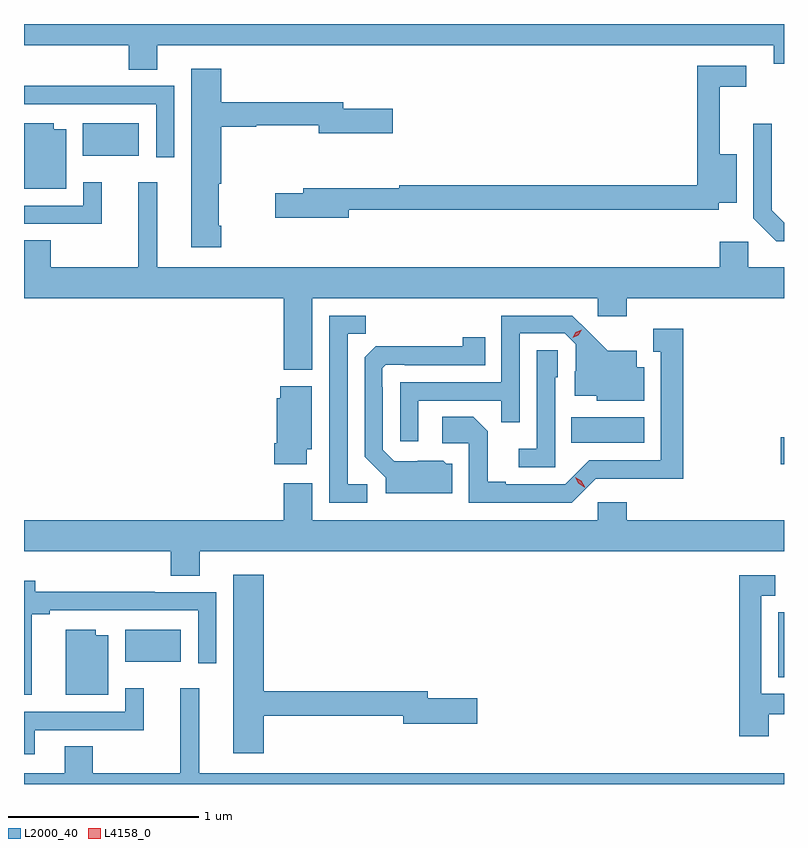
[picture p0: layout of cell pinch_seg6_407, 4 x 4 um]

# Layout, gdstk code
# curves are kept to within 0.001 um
import gdstk
lib = gdstk.Library(unit=1e-6, precision=1e-09)
def R(c, l, rs):  # rectangles x0, y0, x1, y1
    for r in rs: c.add(gdstk.rectangle(r[:2], r[2:], *l))
def P(c, l, *ps):  # polygons
    for p in ps: c.add(gdstk.Polygon(p, *l))
L2000_40 = (2000, 40)
L4158_0 = (4158, 0)

pinch_seg6_407 = lib.new_cell('pinch_seg6_407')
R(pinch_seg6_407, L2000_40, [(649.724,917.368,649.754,917.712), (646.286,917.45,646.579,917.62), (649.736,918.49,649.754,918.632), (648.634,918.602,649.018,918.736), (646.064,920.114,646.357,920.284)])
P(pinch_seg6_407, L2000_40, [(646.456,920.696),(649.7,920.696),(649.7,920.598),(649.754,920.598),(649.754,920.807),(645.754,920.807),(645.754,920.696),(646.304,920.696),(646.304,920.566),(646.456,920.566)],
  [(647.464,919.83),(649.41,919.83),(649.41,919.865),(649.504,919.865),(649.504,920.122),(649.415,920.122),(649.415,920.478),(649.555,920.478),(649.555,920.586),(649.297,920.586),(649.297,919.958),(647.729,919.958),(647.729,919.943),(647.225,919.943),(647.225,919.917),(647.076,919.917),(647.076,919.787),(647.464,919.787)],
  [(646.793,919.744),(646.78,919.744),(646.78,919.967),(646.793,919.967),(646.793,920.266),(646.976,920.266),(646.976,920.274),(647.306,920.274),(647.306,920.231),(647.695,920.231),(647.695,920.361),(647.434,920.361),(647.434,920.395),(646.793,920.395),(646.793,920.572),(646.634,920.572),(646.634,919.632),(646.793,919.632)],
  [(646.545,920.481),(646.22,920.481),(646.22,920.483),(645.754,920.483),(645.754,920.385),(646.449,920.385),(646.449,920.106),(646.545,920.106)],
  [(645.976,920.254),(645.91,920.254),(645.91,920.284),(645.754,920.284),(645.754,919.94),(645.976,919.94)],
  [(649.754,919.762),(649.689,919.827),(649.689,920.281),(649.593,920.281),(649.593,919.785),(649.714,919.664),(649.754,919.664)],
  [(647.272,919.364),(648.774,919.364),(648.774,919.269),(648.926,919.269),(648.926,919.364),(649.754,919.364),(649.754,919.528),(649.566,919.528),(649.566,919.66),(649.415,919.66),(649.415,919.528),(646.454,919.528),(646.454,919.975),(646.355,919.975),(646.355,919.528),(645.894,919.528),(645.894,919.67),(645.754,919.67),(645.754,919.364),(647.12,919.364),(647.12,918.986),(647.272,918.986)],
  [(646.163,919.975),(646.065,919.975),(646.065,919.851),(645.754,919.851),(645.754,919.755),(646.163,919.755)],
  [(647.56,918.384),(647.457,918.384),(647.457,919.177),(647.553,919.177),(647.553,919.272),(647.361,919.272),(647.361,918.288),(647.56,918.288)],
  [(647.829,918.825),(648.265,918.825),(648.265,918.712),(648.363,918.712),(648.363,919.179),(648.6,919.179),(648.657,919.122),(648.657,918.98),(648.653,918.98),(648.653,918.851),(648.768,918.851),(648.768,918.824),(649.018,918.824),(649.018,919),(648.979,919),(648.979,919.087),(648.827,919.087),(648.64,919.272),(648.267,919.272),(648.267,918.921),(647.733,918.921),(647.733,918.612),(647.829,918.612)],
  [(648.762,918.414),(649.225,918.413),(649.225,919.204),(649.067,919.204),(649.067,919.083),(649.106,919.083),(649.106,918.51),(648.729,918.51),(648.603,918.384),(648.289,918.384),(648.289,918.397),(648.195,918.397),(648.195,918.664),(648.119,918.74),(647.955,918.74),(647.955,918.6),(648.096,918.6),(648.096,918.288),(648.636,918.288)],
  [(648.007,918.492),(647.976,918.492),(647.96,918.508),(647.703,918.507),(647.643,918.567),(647.643,918.896),(647.64,918.896),(647.64,918.996),(647.658,919.014),(647.758,919.014),(647.758,919.011),(648.182,919.011),(648.182,919.159),(648.064,919.159),(648.064,919.112),(647.606,919.111),(647.547,919.052),(647.547,918.53),(647.657,918.42),(647.657,918.338),(648.007,918.338)],
  [(648.549,918.948),(648.564,918.948),(648.564,919.091),(648.453,919.091),(648.453,918.571),(648.357,918.571),(648.357,918.474),(648.549,918.474)],
  [(647.242,918.57),(647.269,918.57),(647.269,918.901),(647.102,918.901),(647.102,918.837),(647.084,918.837),(647.084,918.601),(647.072,918.601),(647.072,918.489),(647.242,918.489)],
  [(646.678,918.032),(649.754,918.032),(649.754,918.196),(648.926,918.196),(648.926,918.289),(648.774,918.289),(648.774,918.196),(647.272,918.196),(647.272,918.391),(647.12,918.391),(647.12,918.196),(645.754,918.196),(645.754,918.032),(646.526,918.032),(646.526,917.902),(646.678,917.902)],
  [(647.015,917.166),(647.75,917.166),(647.75,917.123),(648.139,917.123),(648.139,917.258),(647.878,917.258),(647.878,917.294),(647.015,917.294),(647.015,917.908),(646.856,917.908),(646.856,916.968),(647.015,916.968)],
  [(649.675,917.175),(649.754,917.175),(649.754,917.283),(649.635,917.283),(649.635,917.799),(649.708,917.799),(649.708,917.905),(649.519,917.905),(649.519,917.058),(649.675,917.058)],
  [(645.794,917.701),(645.889,917.701),(645.889,917.721),(646.671,917.721),(646.671,917.442),(646.767,917.442),(646.767,917.817),(646.442,917.817),(646.442,917.819),(645.812,917.819),(645.812,917.878),(645.754,917.878),(645.754,917.277),(645.794,917.277)],
  [(646.198,917.59),(646.132,917.59),(646.132,917.62),(645.974,917.62),(645.974,917.276),(646.198,917.276)],
  [(645.811,917.091),(646.385,917.091),(646.385,917.311),(646.287,917.311),(646.287,917.187),(645.754,917.187),(645.754,916.964),(645.811,916.964)],
  [(649.754,916.864),(646.676,916.864),(646.676,917.311),(646.577,917.311),(646.577,916.864),(646.116,916.864),(646.116,917.006),(645.968,917.006),(645.968,916.864),(645.754,916.864),(645.754,916.807),(649.754,916.807)])
P(pinch_seg6_407, L4158_0, [(648.703,918.37),(648.672,918.389),(648.655,918.422),(648.655,918.422),(648.655,918.422),(648.686,918.403),(648.704,918.371),(648.704,918.37)],
  [(648.641,919.155),(648.641,919.155),(648.658,919.184),(648.689,919.199),(648.689,919.199),(648.689,919.199),(648.672,919.17),(648.641,919.155)])

lib.write_gds('pinch_seg6_407.gds')
